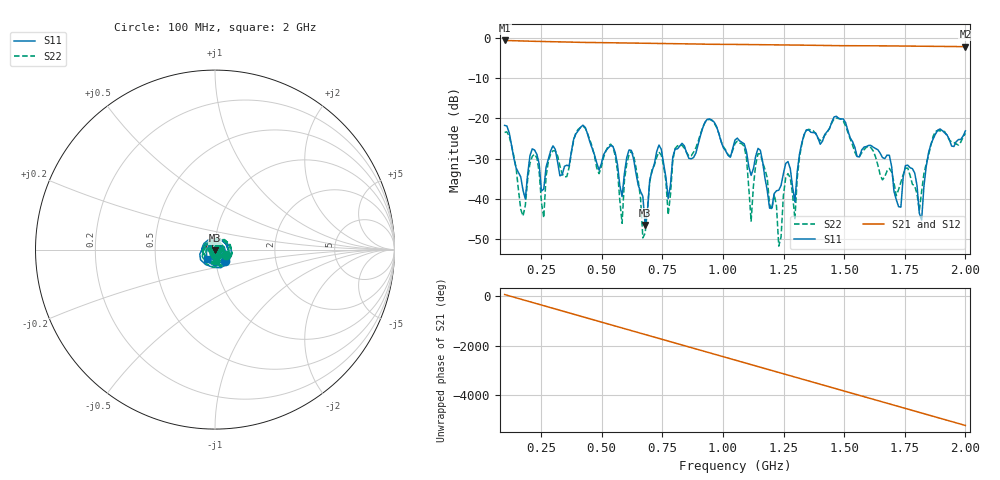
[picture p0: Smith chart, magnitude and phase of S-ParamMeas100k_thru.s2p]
!Keysight Technologies,N5242B,MY48420967,A.15.65.19
!Date: Saturday, December 17, 2022 19:18:50
!Correction: S11(C  2-Port  )
!S21(C  2-Port  )
!S12(C  2-Port  )
!S22(C  2-Port  )
!S2P File: Measurements: S11, S21, S12, S22:
# Hz S  dB  R 50
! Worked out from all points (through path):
!   201 points, 100 MHz to 2 GHz, reference 50 ohm
!   highest |S21| = -0.62 dB at 100 MHz (marker M1); lowest = -2.2 dB at 2 GHz (marker M2)
!   group delay of S21, straight-line fit = 7.76 ns
!   lowest |S11| = -46.5 dB at 679.5 MHz (marker M3), VSWR 1.01, Z = 50.1 - j0.46 ohm
!   |S11| at or under -10 dB: start of sweep to end of sweep
!   |S22| runs from -51.8 to -20.0 dB; largest |S21 - S12| = 0.00041
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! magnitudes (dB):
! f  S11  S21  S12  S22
! 100 MHz  -21.8  -0.6  -0.6  -23.5
! 261.5 MHz  -37.6  -0.9  -0.9  -44.7
! 290 MHz  -28.1  -0.9  -0.9  -28.9
! 423 MHz  -21.7  -1.1  -1.1  -21.9
! 546.5 MHz  -27.0  -1.2  -1.2  -27.1
! 584.5 MHz  -39.5  -1.2  -1.2  -46.1
! 622.5 MHz  -28.0  -1.3  -1.3  -28.2
! 679.5 MHz  -46.5  -1.3  -1.3  -48.6
! 736.5 MHz  -26.7  -1.4  -1.4  -28.4
! 774.5 MHz  -39.9  -1.4  -1.4  -44.0
! 812.5 MHz  -27.6  -1.4  -1.4  -26.9
! 1.05 GHz  -25.4  -1.6  -1.6  -26.3
! 1.117 GHz  -34.2  -1.6  -1.6  -45.6
! 1.155 GHz  -28.0  -1.7  -1.7  -28.9
! 1.23 GHz  -37.9  -1.7  -1.7  -51.8
! 1.259 GHz  -31.2  -1.7  -1.7  -34.8
! 1.297 GHz  -40.8  -1.8  -1.8  -45.1
! 1.373 GHz  -23.5  -1.8  -1.8  -23.1
! 1.687 GHz  -29.2  -2.0  -2.0  -32.5
! 1.819 GHz  -45.3  -2.0  -2.1  -38.2
! 1.877 GHz  -23.9  -2.1  -2.1  -23.3
! 2 GHz  -23.1  -2.2  -2.2  -23.7
